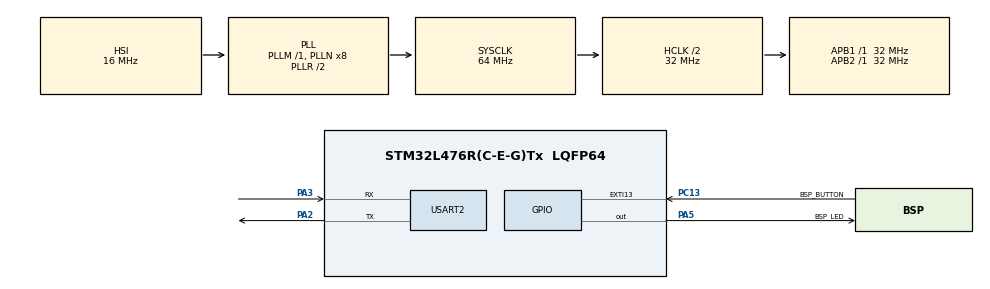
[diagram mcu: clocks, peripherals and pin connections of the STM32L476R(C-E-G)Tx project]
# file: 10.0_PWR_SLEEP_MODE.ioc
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Mcu.Family=STM32L4
Mcu.Name=STM32L476R(C-E-G)Tx
Mcu.Package=LQFP64
NVIC.EXTI15_10_IRQn=true\:0\:0\:false\:false\:true\:true\:true\:true
NVIC.PriorityGroup=NVIC_PRIORITYGROUP_4
NVIC.USART2_IRQn=true\:0\:0\:false\:false\:true\:true\:true\:true
PA13\ (JTMS-SWDIO).Mode=Serial_Wire
PA13\ (JTMS-SWDIO).Signal=SYS_JTMS-SWDIO
PA14\ (JTCK-SWCLK).Mode=Serial_Wire
PA14\ (JTCK-SWCLK).Signal=SYS_JTCK-SWCLK
PA2.Mode=Asynchronous
PA2.Signal=USART2_TX
PA3.Mode=Asynchronous
PA3.Signal=USART2_RX
PA5.GPIO_Label=BSP_LED
PA5.Signal=GPIO_Output
PC13.GPIO_Label=BSP_BUTTON
PC13.Signal=GPXTI13
PH0-OSC_IN\ (PH0).Mode=HSE-External-Oscillator
PH0-OSC_IN\ (PH0).Signal=RCC_OSC_IN
PH1-OSC_OUT\ (PH1).Mode=HSE-External-Oscillator
PH1-OSC_OUT\ (PH1).Signal=RCC_OSC_OUT
ProjectManager.HeapSize=0x200
ProjectManager.StackSize=0x400
ProjectManager.TargetToolchain=STM32CubeIDE
RCC.ADCFreq_Value=64000000
RCC.AHBCLKDivider=RCC_SYSCLK_DIV2
RCC.AHBFreq_Value=32000000
RCC.APB1Freq_Value=32000000
RCC.APB1TimFreq_Value=32000000
RCC.APB2Freq_Value=32000000
RCC.APB2TimFreq_Value=32000000
RCC.CortexFreq_Value=32000000
RCC.HCLKFreq_Value=32000000
RCC.HSE_VALUE=8000000
RCC.HSI_VALUE=16000000
RCC.LSE_VALUE=32768
RCC.MSI_VALUE=4000000
RCC.PLLSourceVirtual=RCC_PLLSOURCE_HSI
RCC.SYSCLKFreq_VALUE=64000000
RCC.SYSCLKSource=RCC_SYSCLKSOURCE_PLLCLK
RCC.USBFreq_Value=64000000
RCC.VCOOutputFreq_Value=128000000
USART2.VirtualMode-Asynchronous=VM_ASYNC
board=NUCLEO-L476RG

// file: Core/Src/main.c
/* USER CODE BEGIN Header */
/**
  ******************************************************************************
  * @file           : main.c
  * @brief          : Main program body
  ******************************************************************************
  * @attention
  *
  * Copyright (c) 2024 STMicroelectronics.
  * All rights reserved.
  *
  * This software is licensed under terms that can be found in the LICENSE file
  * in the root directory of this software component.
  * If no LICENSE file comes with this software, it is provided AS-IS.
  *
  ******************************************************************************
  */
/* USER CODE END Header */
#include "main.h"

/* USER CODE BEGIN Includes */
#include <stdio.h>
#include <string.h>
/* USER CODE END Includes */

UART_HandleTypeDef huart2;

/* USER CODE BEGIN PV */
#if(!CUSTOM_DEBUG)
// Enable NVIC for interrupt [WSI]
 char *str = {0};
 uint8_t Rx_data;
#else
 /*
// Disable NVIC interrupt for event [WSE]
 -> The SEVONPEND bit must be set: The following
 HAL function set the SEVONPEND bit.
 HAL_PWR_EnableSEVOnPend()

 -> There must be an IT pending bit: PC13 must be able to generate IT.
 -> The corresponding IT shall be disabled in the NVIC, so that
 IT will be pending but no interrupt will be triggered.

 -> The documentation also says that when the MCU wakes up,
 "the peripheral interrupt pending bit and the NVIC peripheral
 IRQ pendant bit have to be cleared".

 -> Clear the peripheral IT flag: __HAL_GPIO_EXTI_CLEAR_IT(GPIO_PIN_13)
 Clear the NVIC IT pending flag: HAL_NVIC_ClearPendingIRQ(EXTI15_10_IRQn)

 -> Note: __HAL_GPIO_EXTI_CLEAR_IT(GPIO_PIN_13) and HAL_NVIC_ClearPendingIRQ
 (EXTI15_10_IRQn) have to be placed just before the HAL_PWR_EnterSLEEPMode.
 Otherwise, if the MCU goes to sleep with one of these two flags already ON,
 it will not wake up.
 */
#endif
/* USER CODE END PV */

void SystemClock_Config(void);
static void MX_GPIO_Init(void);
static void MX_USART2_UART_Init(void);

/* USER CODE BEGIN 0 */
#if(!CUSTOM_DEBUG)
void HAL_UART_RxCpltCallback(UART_HandleTypeDef *huart) {
	HAL_UART_Receive_IT(&huart2, &Rx_data, 1);
	str = "WakeUP from SLEEP by UART\r\n";
	HAL_UART_Transmit(&huart2, (uint8_t*) str, strlen(str), HAL_MAX_DELAY);
}

void HAL_GPIO_EXTI_Callback(uint16_t GPIO_Pin) {
	str = "WakeUP from SLEEP by EXTI\r\n";
	HAL_UART_Transmit(&huart2, (uint8_t*) str, strlen(str), HAL_MAX_DELAY);
	HAL_PWR_DisableSleepOnExit();
}
#else
#endif
/* USER CODE END 0 */

int main(void)
{

  /* MCU Configuration--------------------------------------------------------*/

  /* Reset of all peripherals, Initializes the Flash interface and the Systick. */
  HAL_Init();

  /* Configure the system clock */
  SystemClock_Config();

  /* Initialize all configured peripherals */
  MX_GPIO_Init();
  MX_USART2_UART_Init();
  /* USER CODE BEGIN 2 */
#if(!CUSTOM_DEBUG)
  HAL_UART_Receive_IT(&huart2, &Rx_data, 1);
#else
  HAL_PWR_EnableSEVOnPend();
  printf("\r\n\r\nTest of Low Power Application on STM32\r\n");
#endif
  /* USER CODE END 2 */

  /* Infinite loop */
  while (1)
  {

    /* USER CODE BEGIN 3 */
#if(!CUSTOM_DEBUG)
	str = "Going into SLEEP mode in 5 Second\r\n";
	HAL_UART_Transmit(&huart2, (uint8_t *)str, strlen(str), 1000);

	HAL_GPIO_WritePin(GPIOA, GPIO_PIN_5, 1);
	HAL_Delay(5000);

	/*
	 * Suspend Tick increment to prevent wakeup by Systick interrupt
	 * Otherwise the SysTick Interrupt will wakeup the device within 1ms (HAL time base)
	 */
	HAL_SuspendTick();
	HAL_GPIO_WritePin(GPIOA, GPIO_PIN_5, 0);   // Just to indicate sleep mode is activated

	//Enter the SLEEP MODE Now....
	HAL_PWR_EnterSLEEPMode(PWR_MAINREGULATOR_ON, PWR_SLEEPENTRY_WFI); // Interrupt for wake up

	HAL_ResumeTick();

	str = "Woke UP from SLEEP Mode\r\n";
	HAL_UART_Transmit(&huart2, (uint8_t *)str, strlen(str), 1000);

	for(int i = 0; i < 30; i++){
		HAL_GPIO_TogglePin(GPIOA, GPIO_PIN_5);
		HAL_Delay(200);
	}
#else
	printf("Running the while loop\r\n");
	printf("The processor goes to Normal sleep using wfe\r\n\r\n");
	HAL_SuspendTick();
	__HAL_GPIO_EXTI_CLEAR_IT(GPIO_PIN_13);
	HAL_NVIC_ClearPendingIRQ(EXTI15_10_IRQn);
	HAL_PWR_EnterSLEEPMode(PWR_MAINREGULATOR_ON, PWR_SLEEPENTRY_WFE);
	HAL_ResumeTick();
	printf("Wake up by Push Button pending IT");
#endif
  }
  /* USER CODE END 3 */
}

void SystemClock_Config(void)
{
  RCC_OscInitTypeDef RCC_OscInitStruct = {0};
  RCC_ClkInitTypeDef RCC_ClkInitStruct = {0};

  /** Configure the main internal regulator output voltage
  */
  if (HAL_PWREx_ControlVoltageScaling(PWR_REGULATOR_VOLTAGE_SCALE1) != HAL_OK)
  {
    Error_Handler();
  }

  /** Initializes the RCC Oscillators according to the specified parameters
  * in the RCC_OscInitTypeDef structure.
  */
  RCC_OscInitStruct.OscillatorType = RCC_OSCILLATORTYPE_HSI;
  RCC_OscInitStruct.HSIState = RCC_HSI_ON;
  RCC_OscInitStruct.HSICalibrationValue = RCC_HSICALIBRATION_DEFAULT;
  RCC_OscInitStruct.PLL.PLLState = RCC_PLL_ON;
  RCC_OscInitStruct.PLL.PLLSource = RCC_PLLSOURCE_HSI;
  RCC_OscInitStruct.PLL.PLLM = 1;
  RCC_OscInitStruct.PLL.PLLN = 8;
  RCC_OscInitStruct.PLL.PLLP = RCC_PLLP_DIV7;
  RCC_OscInitStruct.PLL.PLLQ = RCC_PLLQ_DIV2;
  RCC_OscInitStruct.PLL.PLLR = RCC_PLLR_DIV2;
  if (HAL_RCC_OscConfig(&RCC_OscInitStruct) != HAL_OK)
  {
    Error_Handler();
  }

  /** Initializes the CPU, AHB and APB buses clocks
  */
  RCC_ClkInitStruct.ClockType = RCC_CLOCKTYPE_HCLK|RCC_CLOCKTYPE_SYSCLK
                              |RCC_CLOCKTYPE_PCLK1|RCC_CLOCKTYPE_PCLK2;
  RCC_ClkInitStruct.SYSCLKSource = RCC_SYSCLKSOURCE_PLLCLK;
  RCC_ClkInitStruct.AHBCLKDivider = RCC_SYSCLK_DIV2;
  RCC_ClkInitStruct.APB1CLKDivider = RCC_HCLK_DIV1;
  RCC_ClkInitStruct.APB2CLKDivider = RCC_HCLK_DIV1;

  if (HAL_RCC_ClockConfig(&RCC_ClkInitStruct, FLASH_LATENCY_1) != HAL_OK)
  {
    Error_Handler();
  }
}

static void MX_USART2_UART_Init(void)
{

  huart2.Instance = USART2;
  huart2.Init.BaudRate = 115200;
  huart2.Init.WordLength = UART_WORDLENGTH_8B;
  huart2.Init.StopBits = UART_STOPBITS_1;
  huart2.Init.Parity = UART_PARITY_NONE;
  huart2.Init.Mode = UART_MODE_TX_RX;
  huart2.Init.HwFlowCtl = UART_HWCONTROL_NONE;
  huart2.Init.OverSampling = UART_OVERSAMPLING_16;
  huart2.Init.OneBitSampling = UART_ONE_BIT_SAMPLE_DISABLE;
  huart2.AdvancedInit.AdvFeatureInit = UART_ADVFEATURE_NO_INIT;
  if (HAL_UART_Init(&huart2) != HAL_OK)
  {
    Error_Handler();
  }

}

static void MX_GPIO_Init(void)
{
  GPIO_InitTypeDef GPIO_InitStruct = {0};

  /* GPIO Ports Clock Enable */
  __HAL_RCC_GPIOC_CLK_ENABLE();
  __HAL_RCC_GPIOH_CLK_ENABLE();
  __HAL_RCC_GPIOA_CLK_ENABLE();

  /*Configure GPIO pin Output Level */
  HAL_GPIO_WritePin(BSP_LED_GPIO_Port, BSP_LED_Pin, GPIO_PIN_RESET);

  /*Configure GPIO pin : BSP_BUTTON_Pin */
  GPIO_InitStruct.Pin = BSP_BUTTON_Pin;
  GPIO_InitStruct.Mode = GPIO_MODE_IT_RISING;
  GPIO_InitStruct.Pull = GPIO_NOPULL;
  HAL_GPIO_Init(BSP_BUTTON_GPIO_Port, &GPIO_InitStruct);

  /*Configure GPIO pin : BSP_LED_Pin */
  GPIO_InitStruct.Pin = BSP_LED_Pin;
  GPIO_InitStruct.Mode = GPIO_MODE_OUTPUT_PP;
  GPIO_InitStruct.Pull = GPIO_NOPULL;
  GPIO_InitStruct.Speed = GPIO_SPEED_FREQ_LOW;
  HAL_GPIO_Init(BSP_LED_GPIO_Port, &GPIO_InitStruct);

  /* EXTI interrupt init*/
  HAL_NVIC_SetPriority(EXTI15_10_IRQn, 0, 0);
  HAL_NVIC_EnableIRQ(EXTI15_10_IRQn);

}

void Error_Handler(void)
{
  __disable_irq();
  while (1)
  {
  }
}
